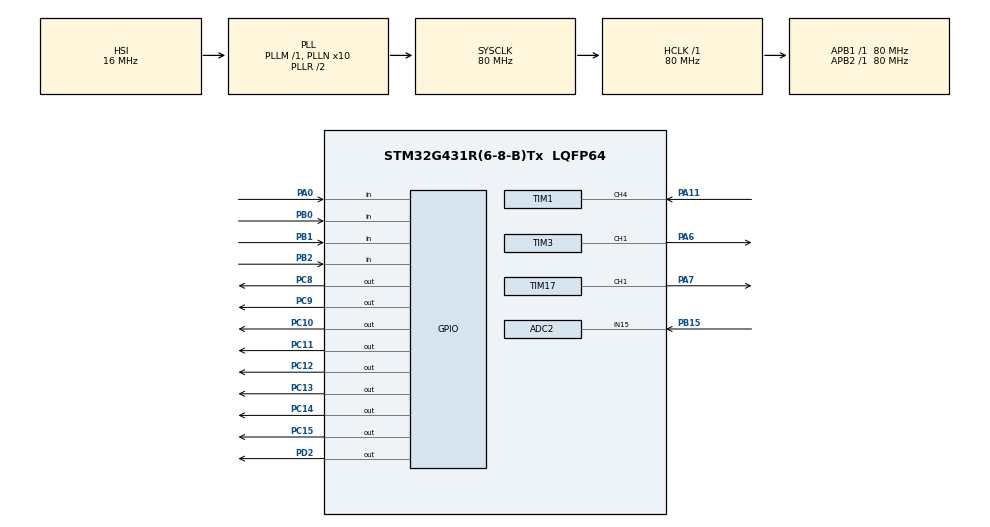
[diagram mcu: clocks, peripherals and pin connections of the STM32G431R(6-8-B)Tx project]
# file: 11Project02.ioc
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ADC2.Channel-0\#ChannelRegularConversion=ADC_CHANNEL_15
ADC2.NbrOfConversionFlag=1
ADC2.OffsetNumber-0\#ChannelRegularConversion=ADC_OFFSET_NONE
ADC2.Rank-0\#ChannelRegularConversion=1
ADC2.SamplingTime-0\#ChannelRegularConversion=ADC_SAMPLETIME_2CYCLES_5
Mcu.Family=STM32G4
Mcu.Name=STM32G431R(6-8-B)Tx
Mcu.Package=LQFP64
NVIC.PriorityGroup=NVIC_PRIORITYGROUP_4
NVIC.TIM1_CC_IRQn=true\:0\:0\:false\:false\:true\:true\:true
PA0.Signal=GPIO_Input
PA11.Signal=S_TIM1_CH4
PA13.Mode=Serial_Wire
PA13.Signal=SYS_JTMS-SWDIO
PA14.Mode=Serial_Wire
PA14.Signal=SYS_JTCK-SWCLK
PA6.Signal=S_TIM3_CH1
PA7.Signal=S_TIM17_CH1
PB0.Signal=GPIO_Input
PB1.Signal=GPIO_Input
PB15.Mode=IN15-Single-Ended
PB15.Signal=ADC2_IN15
PB2.Signal=GPIO_Input
PC10.Signal=GPIO_Output
PC11.Signal=GPIO_Output
PC12.Signal=GPIO_Output
PC13.Signal=GPIO_Output
PC14-OSC32_IN.Signal=GPIO_Output
PC15-OSC32_OUT.Signal=GPIO_Output
PC8.Signal=GPIO_Output
PC9.Signal=GPIO_Output
PD2.Signal=GPIO_Output
PF0-OSC_IN.Mode=HSE-External-Oscillator
PF0-OSC_IN.Signal=RCC_OSC_IN
PF1-OSC_OUT.Mode=HSE-External-Oscillator
PF1-OSC_OUT.Signal=RCC_OSC_OUT
ProjectManager.HeapSize=0x200
ProjectManager.StackSize=0x400
ProjectManager.TargetToolchain=MDK-ARM V5
RCC.ADC12Freq_Value=80000000
RCC.AHBFreq_Value=80000000
RCC.APB1Freq_Value=80000000
RCC.APB1TimFreq_Value=80000000
RCC.APB2Freq_Value=80000000
RCC.APB2TimFreq_Value=80000000
RCC.CortexFreq_Value=80000000
RCC.EXTERNAL_CLOCK_VALUE=12288000
RCC.HCLKFreq_Value=80000000
RCC.HSE_VALUE=24000000
RCC.HSI48_VALUE=48000000
RCC.HSI_VALUE=16000000
RCC.LSE_VALUE=32768
RCC.PLLN=10
RCC.SYSCLKFreq_VALUE=80000000
RCC.SYSCLKSource=RCC_SYSCLKSOURCE_PLLCLK
RCC.USBFreq_Value=80000000
RCC.VCOOutputFreq_Value=160000000
SH.S_TIM17_CH1.0=TIM17_CH1,PWM Generation1 CH1
SH.S_TIM1_CH4.0=TIM1_CH4,Input_Capture4_from_TI4
SH.S_TIM1_CH4.1=TIM1_CH4,Input_Capture3_from_TI4
SH.S_TIM3_CH1.0=TIM3_CH1,PWM Generation1 CH1
TIM1.Channel-Input_Capture3_from_TI4=TIM_CHANNEL_3
TIM1.Channel-Input_Capture4_from_TI4=TIM_CHANNEL_4
TIM1.ICPolarity_CH3=TIM_INPUTCHANNELPOLARITY_FALLING
TIM1.ICPolarity_CH4=TIM_INPUTCHANNELPOLARITY_RISING
TIM1.Prescaler=80-1
TIM17.Channel=TIM_CHANNEL_1
TIM17.PeriodNoDither=500-1
TIM17.Prescaler=80-1
TIM17.PulseNoDither_1=50-1
TIM3.AutoReloadPreload=TIM_AUTORELOAD_PRELOAD_ENABLE
TIM3.Channel-PWM\ Generation1\ CH1=TIM_CHANNEL_1
TIM3.PeriodNoDither=100-1
TIM3.Prescaler=800-1
TIM3.PulseNoDither_1=10-1
VP_SYS_VS_DBSignals.Mode=DisableDeadBatterySignals
VP_TIM17_VS_ClockSourceINT.Mode=Enable_Timer
VP_TIM1_VS_ClockSourceINT.Mode=Internal
VP_TIM3_VS_ClockSourceINT.Mode=Internal
board=custom

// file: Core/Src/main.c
/* USER CODE BEGIN Header */
/**
  ******************************************************************************
  * @file           : main.c
  * @brief          : Main program body
  ******************************************************************************
  * @attention
  *
  * <h2><center>&copy; Copyright (c) 2023 STMicroelectronics.
  * All rights reserved.</center></h2>
  *
  * This software component is licensed by ST under BSD 3-Clause license,
  * the "License"; You may not use this file except in compliance with the
  * License. You may obtain a copy of the License at:
  *                        opensource.org/licenses/BSD-3-Clause
  *
  ******************************************************************************
  */
/* USER CODE END Header */
#include "main.h"
#include "adc.h"
#include "tim.h"
#include "gpio.h"

/* USER CODE BEGIN Includes */
#include "lcd.h"
#include "i2c_hal.h"
#include "stdio.h"
#include "string.h"

/* USER CODE END Includes */

/* USER CODE BEGIN PD */

#define KEY1 HAL_GPIO_ReadPin(GPIOB,GPIO_PIN_0)
#define KEY2 HAL_GPIO_ReadPin(GPIOB,GPIO_PIN_1)
#define KEY3 HAL_GPIO_ReadPin(GPIOB,GPIO_PIN_2)
#define KEY4 HAL_GPIO_ReadPin(GPIOA,GPIO_PIN_0)

/* USER CODE END PD */

/* USER CODE BEGIN PV */

u8 key_val,key_down,key_up,key_old;
double ao1, ao2;
u8 sta_lcd;
u8 ptr[30];
u8 mode = 0;
unsigned char tx[21],rx,rx_buf[21],dex;//串口相关变量
u32 freqPa1, freqPa2;
uint32_t  cc1_value1 = 0, cc1_value2 = 0;
u8 tc[128];
u8 tcs = 0;

u8 led_in;
u8 e2prom[5];//EEPROM存储数组
u8 PwmPA6 = 10, PwmPA7 = 10;
u8 PwmPA6o, PwmPA7o;
u8 led1_sta, led2_sta;
double sss;
/* USER CODE END PV */

void SystemClock_Config(void);

/* USER CODE BEGIN 0 */

u8 key_scan()
{
	if((KEY1 == 0)||(KEY2 == 0)||(KEY3 == 0)||(KEY4 == 0))
	{
		HAL_Delay(10);
		if(KEY1 == 0) return 1;
		else if(KEY2 == 0) return 2;
		else if(KEY3 == 0) return 3;
		else if(KEY4 == 0) return 4;
	}return 0;
}

void led_dis(u8 led)
{
	HAL_GPIO_WritePin(GPIOC,0xff00,GPIO_PIN_SET);
	HAL_GPIO_WritePin(GPIOD,GPIO_PIN_2,GPIO_PIN_SET);
	HAL_GPIO_WritePin(GPIOD,GPIO_PIN_2,GPIO_PIN_RESET);

	HAL_GPIO_WritePin(GPIOC,led<<8,GPIO_PIN_RESET);
	HAL_GPIO_WritePin(GPIOD,GPIO_PIN_2,GPIO_PIN_SET);
	HAL_GPIO_WritePin(GPIOD,GPIO_PIN_2,GPIO_PIN_RESET);
}

void key_Proc()
{
	static __IO uint32_t Key_Tick,DKey_Tick;

	if(uwTick - Key_Tick < 50)
		return;

	Key_Tick = uwTick;

	key_val = key_scan();
	key_down = key_val&(key_val^key_old);
	key_up = ~key_val&(key_val^key_old);
	key_old = key_val;

	switch (key_up)
	{
		case 1:
		{
			sta_lcd = ~sta_lcd;
			LCD_Clear(Black);
			break;
		}
		case 2:
		{
			if(sta_lcd)
			{
				PwmPA6 += 10;
				if(PwmPA6 > 100)
					PwmPA6 = 10;
			}
			break;
		}
		case 3:
		{
			if(sta_lcd)
			{
				PwmPA7 += 10;
				if(PwmPA7 > 100)
					PwmPA7 = 10;
			}
			break;
		}
		case 4:
		{
			if(!mode)
				mode = 1;
			else
				mode = 0;
			if(mode)
			{
				__HAL_TIM_SetCompare(&htim17, TIM_CHANNEL_1, PwmPA6 - 1);
				__HAL_TIM_SetCompare(&htim3, TIM_CHANNEL_1, (PwmPA7 * 5) -1);
			}
			break;
		}
	}

}

double tmep;
void lcd_Proc()
{

	sprintf((char*)ptr,"  %d        ", freqPa1);
	LCD_DisplayStringLine(Line6,(u8*)ptr);
	sprintf((char*)ptr,"  %.2f       ", sss * 100);
	LCD_DisplayStringLine(Line7,(u8*)ptr);
	sprintf((char*)ptr,"  %.2f       ", tmep);
	LCD_DisplayStringLine(Line8,(u8*)ptr);

	if(!sta_lcd)
	{
		sprintf((char*)ptr,"      Data");
		LCD_DisplayStringLine(Line0,(u8*)ptr);
		sprintf((char*)ptr,"    V:%.2fV", ao2);
		LCD_DisplayStringLine(Line2,(u8*)ptr);
		if(!mode)
		{
			sprintf((char*)ptr,"    Mode:AUTO");
			LCD_DisplayStringLine(Line4,(u8*)ptr);
		}else
		{
			sprintf((char*)ptr,"    Mode:MANU");
			LCD_DisplayStringLine(Line4,(u8*)ptr);
		}
	}else{
		sprintf((char*)ptr,"      Para");
		LCD_DisplayStringLine(Line0,(u8*)ptr);
		if(mode)
		{
			sprintf((char*)ptr,"    PA6:%d%%", PwmPA6);
			LCD_DisplayStringLine(Line2,(u8*)ptr);
			sprintf((char*)ptr,"    PA7:%d%%", PwmPA7);
			LCD_DisplayStringLine(Line4,(u8*)ptr);
		}else
		{
			sprintf((char*)ptr,"    PA6:%d%%", PwmPA6o);
			LCD_DisplayStringLine(Line2,(u8*)ptr);
			sprintf((char*)ptr,"    PA7:%d%%", PwmPA7o);
			LCD_DisplayStringLine(Line4,(u8*)ptr);
		}
	}
}

void led_Proc()
{
//	__HAL_TIM_SetAutoreload(&htim17,(1000/b/plus2)-1);
//	__HAL_TIM_SetCompare(&htim17,TIM_CHANNEL_1,(500/b/plus2));
	if(!mode)
		led_in |= 0x02;
	else
		led_in &= ~(0x02);

	if(!sta_lcd)
		led_in |= 0x01;
	else
		led_in &= ~(0x01);

	led_dis(led_in);
}

void work_Proc(void) // 获取PB15引脚的电压(对应R37电阻)
{
	uint32_t adc;
	HAL_ADC_Start(&hadc2);
	adc = HAL_ADC_GetValue(&hadc2);
	ao2 = (3.3f * adc)/4096;
	tmep = adc * 1.0 / 4906 * 100;

	PwmPA6o = adc * 1.0 / 4906 * 100;
	__HAL_TIM_SetAutoreload(&htim3, 100 - 1);
	__HAL_TIM_SetCompare(&htim3, TIM_CHANNEL_1, PwmPA6o - 1);

}

void HAL_TIM_IC_CaptureCallback(TIM_HandleTypeDef *htim)
{

	cc1_value1 = HAL_TIM_ReadCapturedValue(htim, TIM_CHANNEL_4) + 1;
	cc1_value2 = HAL_TIM_ReadCapturedValue(htim, TIM_CHANNEL_3) + 1;
	__HAL_TIM_SetCounter(htim, 0);

	if(htim == &htim1)
	{
		freqPa1 = 1000000 / cc1_value1;
		sss = (cc1_value2 * 1.0) / cc1_value1;
	}
	HAL_TIM_IC_Start_IT(&htim1, TIM_CHANNEL_4);
}

/* USER CODE END 0 */

int main(void)
{

  /* MCU Configuration--------------------------------------------------------*/

  /* Reset of all peripherals, Initializes the Flash interface and the Systick. */
  HAL_Init();

  /* Configure the system clock */
  SystemClock_Config();

  /* Initialize all configured peripherals */
  MX_GPIO_Init();
  MX_ADC2_Init();
  MX_TIM3_Init();
  MX_TIM17_Init();
  MX_TIM1_Init();
  /* USER CODE BEGIN 2 */
	I2CInit();
	LCD_Init();
	LCD_SetBackColor(Black);
	LCD_SetTextColor(White);
	LCD_Clear(Black);
	led_dis(0);
	HAL_TIM_PWM_Start(&htim3, TIM_CHANNEL_1);
	HAL_TIM_PWM_Start(&htim17, TIM_CHANNEL_1);
	HAL_TIM_IC_Start_IT(&htim1, TIM_CHANNEL_4);
	HAL_TIM_IC_Start_IT(&htim1, TIM_CHANNEL_3);
  /* USER CODE END 2 */

  /* Infinite loop */
  while (1)
  {

    /* USER CODE BEGIN 3 */
		work_Proc();
		key_Proc();
		lcd_Proc();
		led_Proc();

  }
  /* USER CODE END 3 */
}

void SystemClock_Config(void)
{
  RCC_OscInitTypeDef RCC_OscInitStruct = {0};
  RCC_ClkInitTypeDef RCC_ClkInitStruct = {0};
  RCC_PeriphCLKInitTypeDef PeriphClkInit = {0};

  /** Configure the main internal regulator output voltage
  */
  HAL_PWREx_ControlVoltageScaling(PWR_REGULATOR_VOLTAGE_SCALE1);
  /** Initializes the RCC Oscillators according to the specified parameters
  * in the RCC_OscInitTypeDef structure.
  */
  RCC_OscInitStruct.OscillatorType = RCC_OSCILLATORTYPE_HSI;
  RCC_OscInitStruct.HSIState = RCC_HSI_ON;
  RCC_OscInitStruct.HSICalibrationValue = RCC_HSICALIBRATION_DEFAULT;
  RCC_OscInitStruct.PLL.PLLState = RCC_PLL_ON;
  RCC_OscInitStruct.PLL.PLLSource = RCC_PLLSOURCE_HSI;
  RCC_OscInitStruct.PLL.PLLM = RCC_PLLM_DIV1;
  RCC_OscInitStruct.PLL.PLLN = 10;
  RCC_OscInitStruct.PLL.PLLP = RCC_PLLP_DIV2;
  RCC_OscInitStruct.PLL.PLLQ = RCC_PLLQ_DIV2;
  RCC_OscInitStruct.PLL.PLLR = RCC_PLLR_DIV2;
  if (HAL_RCC_OscConfig(&RCC_OscInitStruct) != HAL_OK)
  {
    Error_Handler();
  }
  /** Initializes the CPU, AHB and APB buses clocks
  */
  RCC_ClkInitStruct.ClockType = RCC_CLOCKTYPE_HCLK|RCC_CLOCKTYPE_SYSCLK
                              |RCC_CLOCKTYPE_PCLK1|RCC_CLOCKTYPE_PCLK2;
  RCC_ClkInitStruct.SYSCLKSource = RCC_SYSCLKSOURCE_PLLCLK;
  RCC_ClkInitStruct.AHBCLKDivider = RCC_SYSCLK_DIV1;
  RCC_ClkInitStruct.APB1CLKDivider = RCC_HCLK_DIV1;
  RCC_ClkInitStruct.APB2CLKDivider = RCC_HCLK_DIV1;

  if (HAL_RCC_ClockConfig(&RCC_ClkInitStruct, FLASH_LATENCY_2) != HAL_OK)
  {
    Error_Handler();
  }
  /** Initializes the peripherals clocks
  */
  PeriphClkInit.PeriphClockSelection = RCC_PERIPHCLK_ADC12;
  PeriphClkInit.Adc12ClockSelection = RCC_ADC12CLKSOURCE_SYSCLK;
  if (HAL_RCCEx_PeriphCLKConfig(&PeriphClkInit) != HAL_OK)
  {
    Error_Handler();
  }
}

void Error_Handler(void)
{
  __disable_irq();
  while (1)
  {
  }
}

/************************ (C) COPYRIGHT STMicroelectronics *****END OF FILE****/
